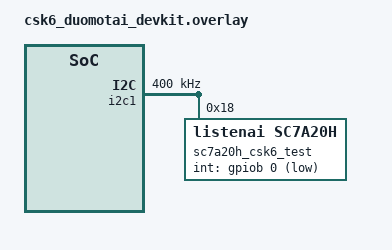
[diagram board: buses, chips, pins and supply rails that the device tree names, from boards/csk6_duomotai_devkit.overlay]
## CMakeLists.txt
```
# SPDX-License-Identifier: Apache-2.0

cmake_minimum_required(VERSION 3.20.0)

set(SUPPORT_BOARDS csk6_duomotai_devkit)
if(NOT ${BOARD} IN_LIST SUPPORT_BOARDS)
    message("Please choose one of the following boards:")
    foreach(item ${SUPPORT_BOARDS})
        message(STATUS ${item})
    endforeach()
    message(FATAL_ERROR "\nThe project does not support the ${BOARD}")
endif()

find_package(Zephyr REQUIRED HINTS $ENV{ZEPHYR_BASE})
project(sc7a20h_test)

target_sources(app PRIVATE src/main.c)
```

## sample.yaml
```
tests:
  sample.drivers.sensor.sc7a20h:
    platform_allow: csk6_duomotai_devkit
    tags: sensors
    harness: console
    harness_config:
      type: multi_line
      regex:
        - "I2C connection test passed!"
        - "SC7A20H CHECK SUCCESS, 1"
        - "SC7A20H CHECK SUCCESS, 2"
        - "SC7A20H CHECK SUCCESS, 3"
        - "SC7A20H CHECK SUCCESS, 4"
        - "SC7A20H CHECK SUCCESS, 5"
```

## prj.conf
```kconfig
CONFIG_STDOUT_CONSOLE=y
CONFIG_I2C=y
CONFIG_SENSOR=y
CONFIG_SC7A20H=y
CONFIG_GPIO=y


CONFIG_SC7A20H_TRIGGER=n
CONFIG_SC7A20H_TRIGGER=y
CONFIG_SC7A20H_TRIGGER_GLOBAL_THREAD=y
CONFIG_I2C_LOG_LEVEL_DBG=y
CONFIG_I2C_INIT_PRIORITY=70
CONFIG_SENSOR_LOG_LEVEL_DBG=y
CONFIG_SENSOR_INIT_PRIORITY=90

CONFIG_LOG=y
CONFIG_LOG_MODE_MINIMAL=y
CONFIG_LOG_DEFAULT_LEVEL=3

CONFIG_LOG_BUFFER_SIZE=2048
CONFIG_LOG_PROCESS_THREAD_STACK_SIZE=2048

CONFIG_CBPRINTF_FP_SUPPORT=y
CONFIG_FPU=y

CONFIG_MAIN_STACK_SIZE=2048
CONFIG_SYSTEM_WORKQUEUE_STACK_SIZE=2048
```

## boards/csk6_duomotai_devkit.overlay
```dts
/*
 * Copyright (c) 2025 Anhui(Shenzhen) Listenai Co., Ltd.
 *
 * SPDX-License-Identifier: Apache-2.0
 */
&pinctrl {
    pinctrl_i2c1_scl_default: i2c1_scl_default {
        pinctrls = <I2C1_SCL_GPIOB_09>;
    };

    pinctrl_i2c1_sda_default: i2c1_sda_default {
        pinctrls = <I2C1_SDA_GPIOB_08>;
    };
};

/ {
    aliases {
        sc7a20h-csk6-test = &sc7a20h_csk6_test;
    };
};

&i2c1 {
    status = "okay";
    clock-frequency = <400000>;
    pinctrl-0 = <&pinctrl_i2c1_scl_default &pinctrl_i2c1_sda_default>;
    pinctrl-names = "default";

    sc7a20h_csk6_test: sc7a20h@18 {
        compatible = "listenai,sc7a20h";
        reg = <0x18>;
        status = "okay";
        int-gpios = <&gpiob 0 GPIO_ACTIVE_LOW>;
    };
};
```

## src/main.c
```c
/*
 * Copyright (c) 2025 Anhui(Shenzhen) Listenai Co., Ltd.
 *
 * SPDX-License-Identifier: Apache-2.0
 */
#include <zephyr/drivers/i2c.h>
#include <zephyr/drivers/sensor.h>
#include <zephyr/kernel.h>
#include <zephyr/sys/printk.h>

#define SLEEP_TIME_MS 1000

static inline double sc7a20h_value_to_ms2(const struct sensor_value *val)
{
	return (double)val->val1 + (double)val->val2 / 1000000.0;
}

static int process_sc7a20h(const struct device *dev)
{
	struct sensor_value accel[3];
	int rc;

	rc = sensor_sample_fetch(dev);
	if (rc != 0) {
		printk("sensor_sample_fetch failed: %d\n", rc);
		return rc;
	}

	rc = sensor_channel_get(dev, SENSOR_CHAN_ACCEL_XYZ, accel);
	if (rc != 0) {
		printk("Failed to get acceleration data: %d\n", rc);
		return rc;
	}

	printk("Accel (m/s^2): X=%.2f, Y=%.2f, Z=%.2f\n", sc7a20h_value_to_ms2(&accel[0]),
	       sc7a20h_value_to_ms2(&accel[1]), sc7a20h_value_to_ms2(&accel[2]));

	return 0;
}

static void trigger_handler(const struct device *dev, const struct sensor_trigger *trigger)
{
	struct sensor_value accel[3];
	int ret;

	ret = sensor_sample_fetch(dev);
	if (ret != 0) {
		printk("sensor_sample_fetch failed: %d\n", ret);
		return;
	}

	ret = sensor_channel_get(dev, SENSOR_CHAN_ACCEL_XYZ, accel);
	if (ret == 0) {
		printk("Accel (m/s^2): X=%.2f, Y=%.2f, Z=%.2f\n", sc7a20h_value_to_ms2(&accel[0]),
		       sc7a20h_value_to_ms2(&accel[1]), sc7a20h_value_to_ms2(&accel[2]));
	}
}

int main(void)
{
	const struct device *dev = DEVICE_DT_GET(DT_NODELABEL(sc7a20h_csk6_test));
	const struct device *i2c_dev = DEVICE_DT_GET(DT_NODELABEL(i2c1));
	int ret;

	printk("SC7A20H test start\n");

	if (!device_is_ready(i2c_dev)) {
		printk("I2C bus not ready\n");
		return -1;
	}

	if (!device_is_ready(dev)) {
		printk("SC7A20H device not found\n");
		return -1;
	}

	struct sensor_trigger trigger = {
		.type = SENSOR_TRIG_DATA_READY,
		.chan = SENSOR_CHAN_ACCEL_XYZ,
	};

	if (sensor_trigger_set(dev, &trigger, trigger_handler) < 0) {
		printk("Cannot configure trigger\n");
		return -1;
	}

	printk("Configured for triggered sampling.\n");
	printk("Move the sensor to generate data!\n");

	while (1) {
		ret = process_sc7a20h(dev);
		if (ret < 0) {
			printk("Error processing sensor data: %d\n", ret);
		}
		k_sleep(K_MSEC(SLEEP_TIME_MS));
	}

	return 0;
}
```
